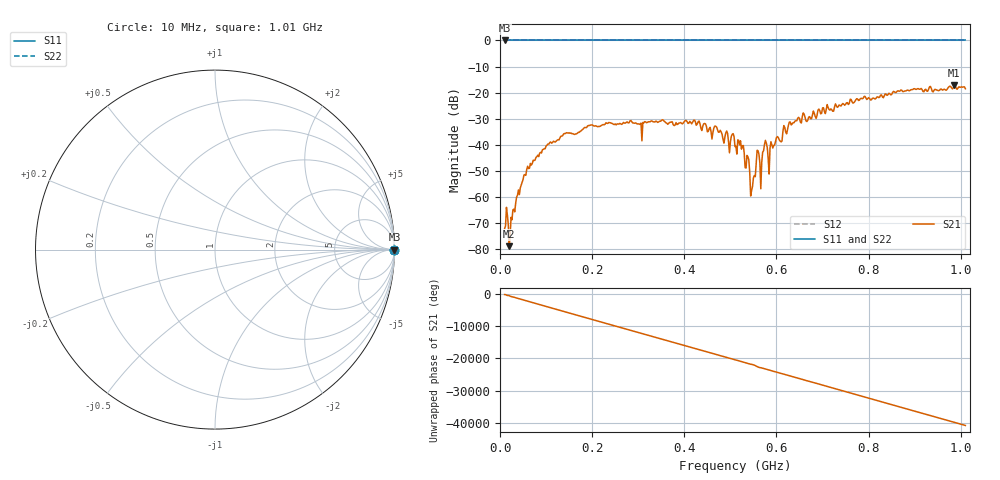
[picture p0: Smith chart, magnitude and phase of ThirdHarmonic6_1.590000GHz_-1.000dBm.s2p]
! 8/16/2025 6:56:34 PM
! C:\ANRITSUVNA\TEMP\TEMP.S2P
! CHANNEL.1
! TR.MEASUREMENT
! RAW.DATA
! RF.CORRECTION.OFF
! AVERAGING.OFF
! IF.BANDWIDTH: 5KHZ
! SWEEPTYPE:  FREQ.SWEEP(Linear)
! Reference Plane Port Info
! PORT:  PORT1  PORT2
! DISTANCE:  0  m  0  m
! TIME:  0  s  0  s
! PHASE.OFFSET:  0  deg.  0  deg.
! LOSS:  0  dB  0  dB
! REF.LOSS:  0  dB  0  dB
! REF.FREQ:  0  Hz  0  Hz
! Power Info
! POWER:  -20  dBm  -20  dBm
! EFF.POWER:  -20  dBm  -20  dBm
! SOURCE.ATTEN:  0  dB  0  dB
! TEST.ATTEN:  0  dB  0  dB
# GHZ S RI R 50.0
! FREQ.GHZ  S11RE  S11IM  S21RE  S21IM  S12RE  S12IM  S22RE  S22IM
!; PortSelection: Port_12
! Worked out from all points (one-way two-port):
!   501 points, 10 MHz to 1.01 GHz, reference 50 ohm
!   highest |S21| = -17.04 dB at 986 MHz (marker M1); lowest = -78.9 dB at 20 MHz (marker M2)
!   lowest |S11| = 0.0 dB at 10 MHz (marker M3)
!   |S11| at or under -10 dB: nowhere
!   |S22| runs from 0.0 to 0.0 dB; largest |S21 - S12| = 1.1
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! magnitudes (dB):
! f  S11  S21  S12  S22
! 10 MHz  0.0  -72.2  0.0  0.0
! 14 MHz  0.0  -64.0  0.0  0.0
! 20 MHz  0.0  -78.9  0.0  0.0
! 40 MHz  0.0  -57.3  0.0  0.0
! 62 MHz  0.0  -49.2  0.0  0.0
! 106 MHz  0.0  -39.8  0.0  0.0
! 178 MHz  0.0  -34.3  0.0  0.0
! 344 MHz  0.0  -31.3  0.0  0.0
! 468 MHz  0.0  -32.9  0.0  0.0
! 510 MHz  0.0  -40.7  0.0  0.0
! 526 MHz  0.0  -40.5  0.0  0.0
! 538 MHz  0.0  -44.6  0.0  0.0
! 548 MHz  0.0  -56.0  0.0  0.0
! 558 MHz  0.0  -42.1  0.0  0.0
! 568 MHz  0.0  -46.9  0.0  0.0
! 574 MHz  0.0  -39.9  0.0  0.0
! 586 MHz  0.0  -41.3  0.0  0.0
! 630 MHz  0.0  -31.3  0.0  0.0
! 678 MHz  0.0  -28.7  0.0  0.0
! 844 MHz  0.0  -20.3  0.0  0.0
! 986 MHz  0.0  -17.0  0.0  0.0
! 1.01 GHz  0.0  -18.5  0.0  0.0
